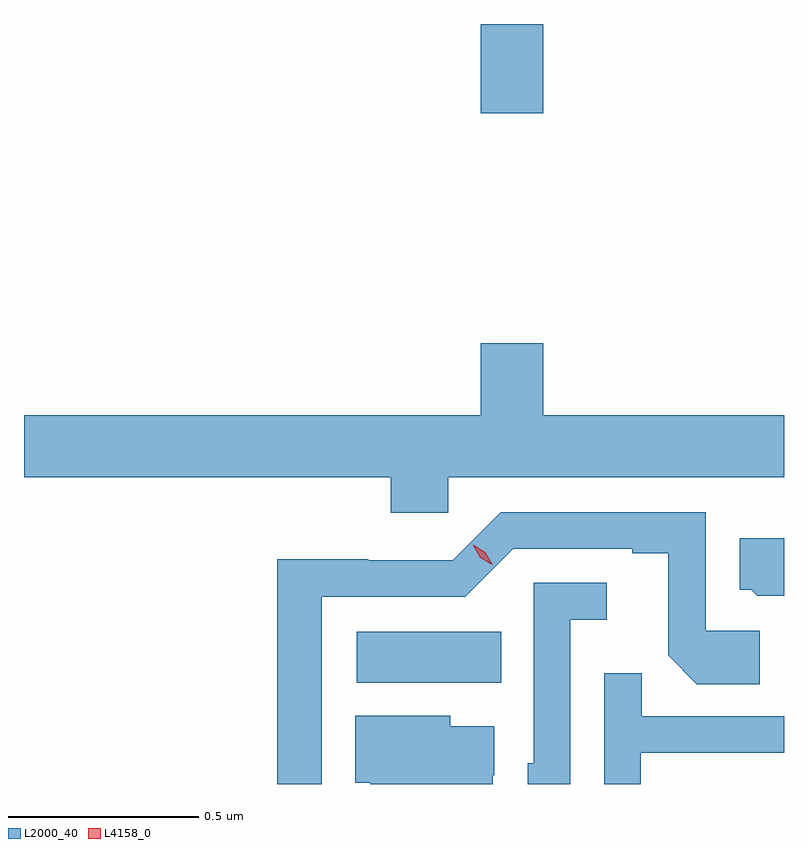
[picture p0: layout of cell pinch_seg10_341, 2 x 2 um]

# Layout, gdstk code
import gdstk
lib = gdstk.Library(unit=1e-6, precision=1e-09)
def R(c, l, rs):  # rectangles x0, y0, x1, y1
    for r in rs: c.add(gdstk.rectangle(r[:2], r[2:], *l))
def P(c, l, *ps):  # polygons
    for p in ps: c.add(gdstk.Polygon(p, *l))
L2000_40 = (2000, 40)
L4158_0 = (4158, 0)

pinch_seg10_341 = lib.new_cell('pinch_seg10_341')
R(pinch_seg10_341, L2000_40, [(416.43,1274.468,416.81,1274.602), (416.756,1275.966,416.92,1276.201)])
P(pinch_seg10_341, L2000_40, [(416.67,1275.008),(417.554,1275.008),(417.554,1275.172),(416.92,1275.172),(416.92,1275.361),(416.756,1275.361),(416.756,1275.172),(415.554,1275.172),(415.554,1275.008),(416.519,1275.008),(416.519,1274.915),(416.67,1274.915)],
  [(416.338,1274.694),(416.715,1274.694),(416.841,1274.82),(417.155,1274.82),(417.155,1274.808),(417.249,1274.808),(417.249,1274.54),(417.325,1274.464),(417.49,1274.464),(417.49,1274.604),(417.348,1274.604),(417.348,1274.916),(416.808,1274.916),(416.682,1274.79),(416.46,1274.79),(416.46,1274.792),(416.22,1274.792),(416.22,1274.201),(416.338,1274.201)],
  [(417.554,1274.848),(417.437,1274.848),(417.437,1274.712),(417.468,1274.712),(417.484,1274.696),(417.554,1274.696)],
  [(416.991,1274.633),(417.088,1274.633),(417.088,1274.73),(416.895,1274.73),(416.895,1274.256),(416.88,1274.256),(416.88,1274.201),(416.991,1274.201)],
  [(417.177,1274.283),(417.554,1274.283),(417.554,1274.379),(417.179,1274.379),(417.179,1274.492),(417.081,1274.492),(417.081,1274.201),(417.177,1274.201)],
  [(416.787,1274.224),(416.791,1274.224),(416.791,1274.353),(416.676,1274.353),(416.676,1274.38),(416.426,1274.38),(416.426,1274.204),(416.465,1274.204),(416.465,1274.201),(416.787,1274.201)])
P(pinch_seg10_341, L4158_0, [(416.786,1274.778),(416.754,1274.797),(416.736,1274.829),(416.736,1274.83),(416.736,1274.83),(416.768,1274.811),(416.786,1274.779),(416.786,1274.778)])

lib.write_gds('pinch_seg10_341.gds')
